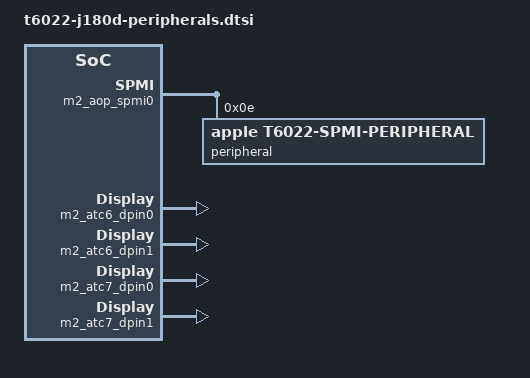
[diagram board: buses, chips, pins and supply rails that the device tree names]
// SPDX-License-Identifier: GPL-2.0+ OR MIT
/* Additional T6022 hardware resources. Keep unqualified blocks disabled. */

&die0 {
	m2_aop_spmi0: spmi@2a6894000 {
		compatible = "apple,t6020-spmi", "apple,t8103-spmi";
		reg = <0x2 0xa6894000 0x0 0x4000>;
		interrupt-parent = <&aic>;
		interrupts = <AIC_IRQ 0 635 IRQ_TYPE_LEVEL_HIGH>;
		#address-cells = <2>;
		#size-cells = <0>;
		interrupt-controller;
		#interrupt-cells = <2>;

		peripheral@e {
			compatible = "apple,t6022-spmi-peripheral",
				"apple,spmi-peripheral";
			reg = <0xe SPMI_USID>;
		};
	};

	m2_apcie_ge0_piodma: dma-controller@1694010000 {
		compatible = "apple,t6022-pcie-piodma", "apple,pcie-piodma";
		reg = <0x16 0x94010000 0x0 0x4000>,
			<0x16 0x94014000 0x0 0x4000>,
			<0x16 0x94018000 0x0 0x4000>;
		interrupt-parent = <&aic>;
		interrupts = <AIC_IRQ 0 1358 IRQ_TYPE_LEVEL_HIGH>;
		iommus = <&pcie_ge_dart 15>;
		status = "disabled";
	};
};

&die1 {
	m2_atc6_dpin0: displayport-input@f01e50000 {
		compatible = "apple,t6022-dpin", "apple,dpin";
		reg = <0xf 0x1e50000 0x0 0x4000>;
		interrupt-parent = <&aic>;
		interrupts = <AIC_IRQ 1 1480 IRQ_TYPE_LEVEL_HIGH>;
	};

	m2_atc6_dpin1: displayport-input@f01e58000 {
		compatible = "apple,t6022-dpin", "apple,dpin";
		reg = <0xf 0x1e58000 0x0 0x4000>;
		interrupt-parent = <&aic>;
		interrupts = <AIC_IRQ 1 1481 IRQ_TYPE_LEVEL_HIGH>;
	};

	m2_atc7_dpin0: displayport-input@1301e50000 {
		compatible = "apple,t6022-dpin", "apple,dpin";
		reg = <0x13 0x1e50000 0x0 0x4000>;
		interrupt-parent = <&aic>;
		interrupts = <AIC_IRQ 1 1528 IRQ_TYPE_LEVEL_HIGH>;
	};

	m2_atc7_dpin1: displayport-input@1301e58000 {
		compatible = "apple,t6022-dpin", "apple,dpin";
		reg = <0x13 0x1e58000 0x0 0x4000>;
		interrupt-parent = <&aic>;
		interrupts = <AIC_IRQ 1 1529 IRQ_TYPE_LEVEL_HIGH>;
	};

	m2_apcie_ge1_piodma: dma-controller@1694010000 {
		compatible = "apple,t6022-pcie-piodma", "apple,pcie-piodma";
		reg = <0x16 0x94010000 0x0 0x4000>,
			<0x16 0x94014000 0x0 0x4000>,
			<0x16 0x94018000 0x0 0x4000>;
		interrupt-parent = <&aic>;
		interrupts = <AIC_IRQ 1 1358 IRQ_TYPE_LEVEL_HIGH>;
		iommus = <&pcie_ge_dart_die1 15>;
		status = "disabled";
	};
};

&usb4_2_pcie_tunnel_die1 {
	m2_apciec6_piodma: dma@f22000000 {
		compatible = "apple,t6022-pciec-piodma", "apple,pciec-piodma";
		reg = <0xf 0x22000000 0x0 0x4000>,
			<0xf 0x22004000 0x0 0x4000>,
			<0xf 0x22008000 0x0 0x4000>,
			<0xf 0x20008000 0x0 0x4000>;
		interrupt-parent = <&aic>;
		interrupts = <AIC_IRQ 1 1302 IRQ_TYPE_LEVEL_HIGH>;
		iommus = <&apciec2_dart_die1 15>;
	};
};

&usb4_3_pcie_tunnel_die1 {
	m2_apciec7_piodma: dma@1322000000 {
		compatible = "apple,t6022-pciec-piodma", "apple,pciec-piodma";
		reg = <0x13 0x22000000 0x0 0x4000>,
			<0x13 0x22004000 0x0 0x4000>,
			<0x13 0x22008000 0x0 0x4000>,
			<0x13 0x20008000 0x0 0x4000>;
		interrupt-parent = <&aic>;
		interrupts = <AIC_IRQ 1 1320 IRQ_TYPE_LEVEL_HIGH>;
		iommus = <&apciec3_dart_die1 15>;
	};
};
